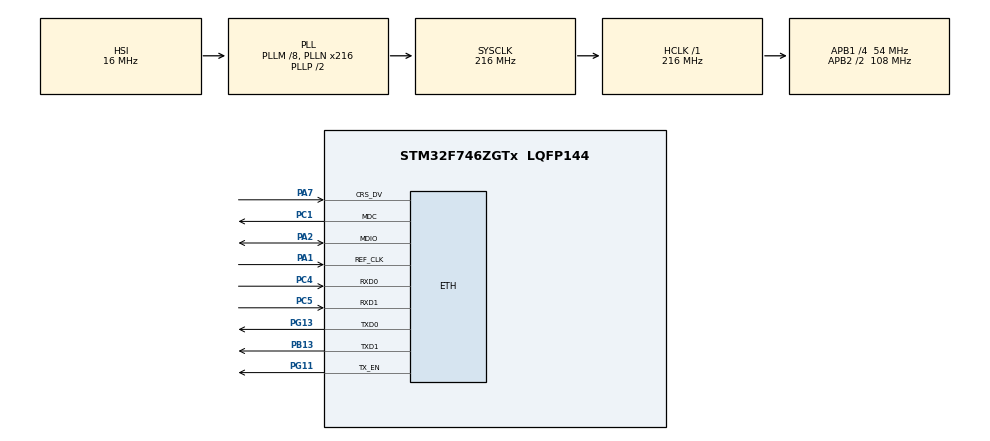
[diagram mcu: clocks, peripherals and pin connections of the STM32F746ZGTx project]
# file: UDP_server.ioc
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ETH.MediaInterface=HAL_ETH_RMII_MODE
LWIP.BSP.number=1
LWIP.IP_ADDRESS=192.168.010.020
LWIP.LWIP_DHCP=0
LWIP.Version=v2.1.2_Cube
LWIP0.BSP.STBoard=false
LWIP0.BSP.api=BSP_COMPONENT_DRIVER
LWIP0.BSP.component=LAN8742
LWIP0.BSP.instance=LAN8742
LWIP0.BSP.name=Driver_PHY
LWIP0.BSP.semaphore=S_LAN8742
LWIP0.BSP.solution=LAN8742
Mcu.Family=STM32F7
Mcu.Name=STM32F746ZGTx
Mcu.Package=LQFP144
NVIC.PriorityGroup=NVIC_PRIORITYGROUP_4
PA1.Mode=RMII
PA1.Signal=ETH_REF_CLK
PA2.Mode=RMII
PA2.Signal=ETH_MDIO
PA7.Mode=RMII
PA7.Signal=ETH_CRS_DV
PB13.Mode=RMII
PB13.Signal=ETH_TXD1
PC1.Mode=RMII
PC1.Signal=ETH_MDC
PC14/OSC32_IN.Mode=LSE-External-Oscillator
PC14/OSC32_IN.Signal=RCC_OSC32_IN
PC15/OSC32_OUT.Mode=LSE-External-Oscillator
PC15/OSC32_OUT.Signal=RCC_OSC32_OUT
PC4.Mode=RMII
PC4.Signal=ETH_RXD0
PC5.Mode=RMII
PC5.Signal=ETH_RXD1
PG11.Mode=RMII
PG11.Signal=ETH_TX_EN
PG13.Mode=RMII
PG13.Signal=ETH_TXD0
PH0/OSC_IN.Mode=HSE-External-Oscillator
PH0/OSC_IN.Signal=RCC_OSC_IN
PH1/OSC_OUT.Mode=HSE-External-Oscillator
PH1/OSC_OUT.Signal=RCC_OSC_OUT
ProjectManager.HeapSize=0x200
ProjectManager.StackSize=0x400
ProjectManager.TargetToolchain=STM32CubeIDE
RCC.48MHZClocksFreq_Value=24000000
RCC.AHBFreq_Value=216000000
RCC.APB1CLKDivider=RCC_HCLK_DIV4
RCC.APB1Freq_Value=54000000
RCC.APB1TimFreq_Value=108000000
RCC.APB2CLKDivider=RCC_HCLK_DIV2
RCC.APB2Freq_Value=108000000
RCC.APB2TimFreq_Value=216000000
RCC.CortexFreq_Value=216000000
RCC.HCLKFreq_Value=216000000
RCC.HSE_VALUE=8000000
RCC.HSI_VALUE=16000000
RCC.PLLM=8
RCC.PLLMUL=RCC_PLL_MUL9
RCC.PLLN=216
RCC.PRESCALERUSB=RCC_USBCLKSOURCE_PLL_DIV1_5
RCC.SYSCLKFreq_VALUE=216000000
RCC.SYSCLKSource=RCC_SYSCLKSOURCE_PLLCLK
RCC.SYSCLKSourceVirtual=RCC_SYSCLKSOURCE_PLLCLK
RCC.USBFreq_Value=216000000
RCC.VCOOutputFreq_Value=432000000
VP_LWIP_VS_Enabled.Mode=Enabled
board=NUCLEO-F746ZG

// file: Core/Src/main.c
/* USER CODE BEGIN Header */
/**
  ******************************************************************************
  * @file           : main.c
  * @brief          : Main program body
  ******************************************************************************
  * @attention
  *
  * Copyright (c) 2026 STMicroelectronics.
  * All rights reserved.
  *
  * This software is licensed under terms that can be found in the LICENSE file
  * in the root directory of this software component.
  * If no LICENSE file comes with this software, it is provided AS-IS.
  *
  ******************************************************************************
  */
/* USER CODE END Header */
#include "main.h"
#include "lwip.h"

/* USER CODE BEGIN Includes */
#include <stdio.h>
#include <stdlib.h>
#include <stdint.h>
#include <stdbool.h>
#include <errno.h>
#include <limits.h>
#include <string.h>

#include "lwip/udp.h"
#include "lwip/pbuf.h"
#include "lwip/ip_addr.h"
/* USER CODE END Includes */

/* USER CODE BEGIN PM */
static struct udp_pcb *udp_server_pcb = NULL;

#define UDP_SERVER_PORT       5000U
#define CMD_TIMEOUT_MS        500U
#define MAX_PACKET_LEN        95U

#define SPEED_MIN_MM_S       (-500L)
#define SPEED_MAX_MM_S         500L

#define STEER_MIN_MDEG      (-45000L)
#define STEER_MAX_MDEG        45000L

volatile int32_t speed_setpoint_mm_s = 0;
volatile int32_t steering_setpoint_mdeg = 0;

volatile uint32_t last_command_tick = 0;
volatile uint32_t last_command_seq = 0;
volatile uint8_t command_valid = 0;
volatile uint8_t command_timeout = 1;

static uint8_t have_sequence = 0;
static int32_t last_accepted_speed = 0;
static int32_t last_accepted_steering = 0;
/* USER CODE END PM */

/* USER CODE BEGIN PV */
static struct udp_pcb *udp_server_pcb;
/* USER CODE END PV */

void SystemClock_Config(void);
static void MX_GPIO_Init(void);

/* USER CODE BEGIN 0 */
static int parse_number(char **cursor,
                        long long *value,
                        char delimiter)
{
    char *start = *cursor;
    char *end = NULL;

    if (*start == '-')
        start++;

    if (*start < '0' || *start > '9')
        return 0;

    errno = 0;
    long long parsed = strtoll(*cursor, &end, 10);

    if (errno == ERANGE || end == *cursor)
        return 0;

    if (delimiter == '\0')
    {
        if (*end != '\0')
            return 0;
    }
    else
    {
        if (*end != delimiter)
            return 0;

        end++;
    }

    *value = parsed;
    *cursor = end;

    return 1;
}

static int parse_command(char *buf,
                         uint32_t *seq,
                         int32_t *speed,
                         int32_t *steering)
{
    char *cursor = buf;
    long long s, v, d;

    if (strncmp(cursor, "CMD,", 4) != 0)
        return 0;

    cursor += 4;

    if (!parse_number(&cursor, &s, ','))
        return 0;

    if (!parse_number(&cursor, &v, ','))
        return 0;

    if (!parse_number(&cursor, &d, '\0'))
        return 0;

    if (s < 0 || (unsigned long long)s > UINT32_MAX)
        return 0;

    if (v < INT32_MIN || v > INT32_MAX)
        return 0;

    if (d < INT32_MIN || d > INT32_MAX)
        return 0;

    *seq = (uint32_t)s;
    *speed = (int32_t)v;
    *steering = (int32_t)d;

    return 1;
}

static void udp_send_text(struct udp_pcb *pcb,
                          const ip_addr_t *addr,
                          u16_t port,
                          const char *message)
{
    size_t len = strlen(message);

    if (len == 0U || len > 255U)
        return;

    struct pbuf *reply =
        pbuf_alloc(PBUF_TRANSPORT, (u16_t)len, PBUF_RAM);

    if (reply == NULL)
        return;

    if (pbuf_take(reply, message, (u16_t)len) == ERR_OK)
    {
        err_t err = udp_sendto(pcb, reply, addr, port);
        (void)err;
    }

    pbuf_free(reply);
}
static int sequence_is_newer(uint32_t seq, uint32_t previous)
{
    uint32_t difference = seq - previous;

    return (difference != 0U) &&
           (difference < 0x80000000U);
}

static void udp_server_recv(void *arg,
                            struct udp_pcb *pcb,
                            struct pbuf *p,
                            const ip_addr_t *addr,
                            u16_t port)
{
    char rx[MAX_PACKET_LEN + 1U];
    char tx[64];

    uint32_t seq;
    int32_t speed;
    int32_t steering;

    (void)arg;

    if (p == NULL)
        return;

    /* Reject empty and oversized packets. */
    if (p->tot_len == 0U || p->tot_len > MAX_PACKET_LEN)
    {
        udp_send_text(pcb, addr, port, "ERR,LENGTH");
        goto cleanup;
    }

    u16_t packet_len = p->tot_len;

    if (pbuf_copy_partial(p, rx, packet_len, 0) != packet_len)
    {
        udp_send_text(pcb, addr, port, "ERR,COPY");
        goto cleanup;
    }

    rx[packet_len] = '\0';

    /* Embedded NUL bytes are invalid. */
    if (strlen(rx) != packet_len)
    {
        udp_send_text(pcb, addr, port, "ERR,FORMAT");
        goto cleanup;
    }

    /* Permit a single CR/LF ending from text clients. */
    while (packet_len > 0U &&
           (rx[packet_len - 1U] == '\r' ||
            rx[packet_len - 1U] == '\n'))
    {
        rx[--packet_len] = '\0';
    }

    if (!parse_command(rx, &seq, &speed, &steering))
    {
        udp_send_text(pcb, addr, port, "ERR,FORMAT");
        goto cleanup;
    }

    if (speed < SPEED_MIN_MM_S || speed > SPEED_MAX_MM_S)
    {
        udp_send_text(pcb, addr, port, "ERR,SPEED_RANGE");
        goto cleanup;
    }

    if (steering < STEER_MIN_MDEG ||
        steering > STEER_MAX_MDEG)
    {
        udp_send_text(pcb, addr, port, "ERR,STEER_RANGE");
        goto cleanup;
    }

    /* Duplicate sequence: acknowledge only an identical command. */
    if (have_sequence && seq == last_command_seq)
    {
        if (speed == last_accepted_speed &&
            steering == last_accepted_steering)
        {
            snprintf(tx, sizeof(tx), "ACK,%lu,%ld,%ld",
                     (unsigned long)seq,
                     (long)speed,
                     (long)steering);

            udp_send_text(pcb, addr, port, tx);
        }
        else
        {
            udp_send_text(pcb, addr, port, "ERR,SEQ_CONFLICT");
        }

        goto cleanup;
    }

    /* Reject stale or out-of-order commands. */
    if (have_sequence && !sequence_is_newer(seq, last_command_seq))
    {
        udp_send_text(pcb, addr, port, "ERR,SEQ_OLD");
        goto cleanup;
    }

    /*
     * Accept command.
     * This updates setpoints only; it does not drive a motor.
     */
    speed_setpoint_mm_s = speed;
    steering_setpoint_mdeg = steering;

    last_command_seq = seq;
    last_accepted_speed = speed;
    last_accepted_steering = steering;
    last_command_tick = HAL_GetTick();

    have_sequence = 1U;
    command_valid = 1U;
    command_timeout = 0U;

    snprintf(tx, sizeof(tx), "ACK,%lu,%ld,%ld",
             (unsigned long)seq,
             (long)speed,
             (long)steering);

    udp_send_text(pcb, addr, port, tx);

cleanup:
    pbuf_free(p);
}

static void udp_server_init(void)
{
    udp_server_pcb = udp_new();

    if (udp_server_pcb == NULL)
        return;

    if (udp_bind(udp_server_pcb,
                 IP_ADDR_ANY,
                 UDP_SERVER_PORT) != ERR_OK)
    {
        udp_remove(udp_server_pcb);
        udp_server_pcb = NULL;
        return;
    }

    udp_recv(udp_server_pcb, udp_server_recv, NULL);
}

static void command_timeout_process(void)
{
    if (command_valid &&
        (uint32_t)(HAL_GetTick() - last_command_tick)
            >= CMD_TIMEOUT_MS)
    {
        speed_setpoint_mm_s = 0;
        command_valid = 0U;
        command_timeout = 1U;
    }
}
/* USER CODE END 0 */

int main(void)
{

  /* MCU Configuration--------------------------------------------------------*/

  /* Reset of all peripherals, Initializes the Flash interface and the Systick. */
  HAL_Init();

  /* Configure the system clock */
  SystemClock_Config();

  /* Initialize all configured peripherals */
  MX_GPIO_Init();
  MX_LWIP_Init();
  /* USER CODE BEGIN 2 */
  udp_server_init();
  /* USER CODE END 2 */

  /* Infinite loop */
  while (1)
  {
	  while (1)
	  {
	      MX_LWIP_Process();
	      command_timeout_process();
	  }
  }
}

void SystemClock_Config(void)
{
  RCC_OscInitTypeDef RCC_OscInitStruct = {0};
  RCC_ClkInitTypeDef RCC_ClkInitStruct = {0};

  /** Configure LSE Drive Capability
  */
  HAL_PWR_EnableBkUpAccess();

  /** Configure the main internal regulator output voltage
  */
  __HAL_RCC_PWR_CLK_ENABLE();
  __HAL_PWR_VOLTAGESCALING_CONFIG(PWR_REGULATOR_VOLTAGE_SCALE1);

  /** Initializes the RCC Oscillators according to the specified parameters
  * in the RCC_OscInitTypeDef structure.
  */
  RCC_OscInitStruct.OscillatorType = RCC_OSCILLATORTYPE_HSI;
  RCC_OscInitStruct.HSIState = RCC_HSI_ON;
  RCC_OscInitStruct.HSICalibrationValue = RCC_HSICALIBRATION_DEFAULT;
  RCC_OscInitStruct.PLL.PLLState = RCC_PLL_ON;
  RCC_OscInitStruct.PLL.PLLSource = RCC_PLLSOURCE_HSI;
  RCC_OscInitStruct.PLL.PLLM = 8;
  RCC_OscInitStruct.PLL.PLLN = 216;
  RCC_OscInitStruct.PLL.PLLP = RCC_PLLP_DIV2;
  RCC_OscInitStruct.PLL.PLLQ = 2;
  if (HAL_RCC_OscConfig(&RCC_OscInitStruct) != HAL_OK)
  {
    Error_Handler();
  }

  /** Activate the Over-Drive mode
  */
  if (HAL_PWREx_EnableOverDrive() != HAL_OK)
  {
    Error_Handler();
  }

  /** Initializes the CPU, AHB and APB buses clocks
  */
  RCC_ClkInitStruct.ClockType = RCC_CLOCKTYPE_HCLK|RCC_CLOCKTYPE_SYSCLK
                              |RCC_CLOCKTYPE_PCLK1|RCC_CLOCKTYPE_PCLK2;
  RCC_ClkInitStruct.SYSCLKSource = RCC_SYSCLKSOURCE_PLLCLK;
  RCC_ClkInitStruct.AHBCLKDivider = RCC_SYSCLK_DIV1;
  RCC_ClkInitStruct.APB1CLKDivider = RCC_HCLK_DIV4;
  RCC_ClkInitStruct.APB2CLKDivider = RCC_HCLK_DIV2;

  if (HAL_RCC_ClockConfig(&RCC_ClkInitStruct, FLASH_LATENCY_7) != HAL_OK)
  {
    Error_Handler();
  }
}

static void MX_GPIO_Init(void)
{

  /* GPIO Ports Clock Enable */
  __HAL_RCC_GPIOC_CLK_ENABLE();
  __HAL_RCC_GPIOH_CLK_ENABLE();
  __HAL_RCC_GPIOA_CLK_ENABLE();
  __HAL_RCC_GPIOB_CLK_ENABLE();
  __HAL_RCC_GPIOG_CLK_ENABLE();

}

void Error_Handler(void)
{
  __disable_irq();
  while (1)
  {
  }
}
